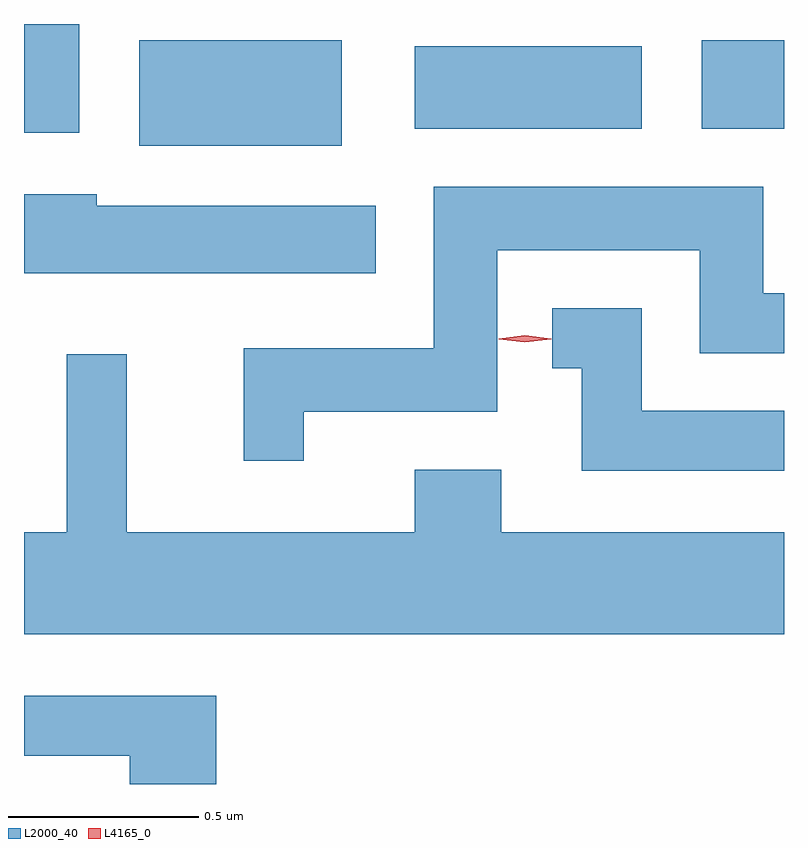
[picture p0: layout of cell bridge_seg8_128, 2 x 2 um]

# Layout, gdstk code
import gdstk
lib = gdstk.Library(unit=1e-6, precision=1e-09)
def R(c, l, rs):  # rectangles x0, y0, x1, y1
    for r in rs: c.add(gdstk.rectangle(r[:2], r[2:], *l))
def P(c, l, *ps):  # polygons
    for p in ps: c.add(gdstk.Polygon(p, *l))
L2000_40 = (2000, 40)
L4165_0 = (4165, 0)

bridge_seg8_128 = lib.new_cell('bridge_seg8_128')
R(bridge_seg8_128, L2000_40, [(1660.116,1808.841,1660.649,1809.119), (1659.813,1808.876,1659.959,1809.162), (1660.841,1808.886,1661.439,1809.104), (1661.596,1808.886,1661.813,1809.119)])
P(bridge_seg8_128, L2000_40, [(1660.549,1808.141),(1661.059,1808.141),(1661.059,1808.566),(1661.591,1808.566),(1661.591,1808.296),(1661.813,1808.296),(1661.813,1808.454),(1661.759,1808.454),(1661.759,1808.734),(1660.891,1808.734),(1660.891,1808.309),(1660.391,1808.309),(1660.391,1808.013),(1660.549,1808.013)],
  [(1660.739,1808.684),(1660.004,1808.684),(1660.004,1808.714),(1659.813,1808.714),(1659.813,1808.506),(1660.739,1808.506)],
  [(1661.813,1808.144),(1661.439,1808.144),(1661.439,1808.414),(1661.203,1808.414),(1661.203,1808.256),(1661.281,1808.256),(1661.281,1807.986),(1661.813,1807.986)],
  [(1661.813,1807.824),(1661.069,1807.824),(1661.069,1807.989),(1660.841,1807.989),(1660.841,1807.824),(1660.084,1807.824),(1660.084,1808.293),(1659.926,1808.293),(1659.926,1807.824),(1659.813,1807.824),(1659.813,1807.556),(1661.813,1807.556)],
  [(1660.319,1807.394),(1659.813,1807.394),(1659.813,1807.236),(1660.091,1807.236),(1660.091,1807.162),(1660.319,1807.162)])
P(bridge_seg8_128, L4165_0, [(1661.131,1808.324),(1661.062,1808.333),(1661.062,1808.334),(1661.062,1808.334),(1661.131,1808.343),(1661.201,1808.334),(1661.201,1808.333),(1661.201,1808.333)])

lib.write_gds('bridge_seg8_128.gds')
